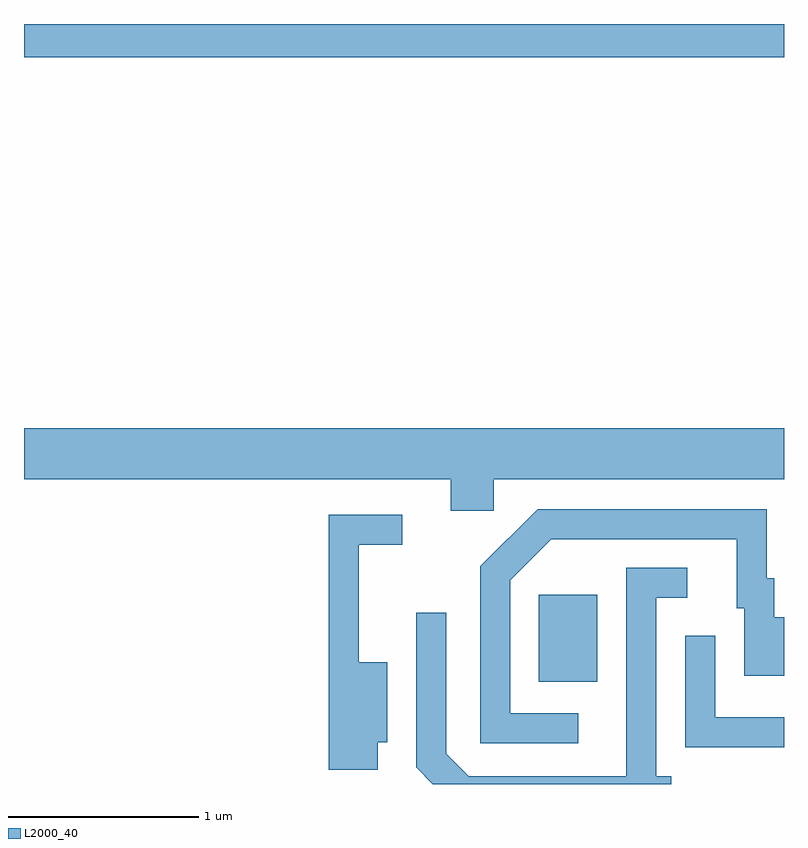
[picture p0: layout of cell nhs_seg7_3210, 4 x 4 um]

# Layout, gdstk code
import gdstk
lib = gdstk.Library(unit=1e-6, precision=1e-09)
def R(c, l, rs):  # rectangles x0, y0, x1, y1
    for r in rs: c.add(gdstk.rectangle(r[:2], r[2:], *l))
def P(c, l, *ps):  # polygons
    for p in ps: c.add(gdstk.Polygon(p, *l))
L2000_40 = (2000, 40)

nhs_seg7_3210 = lib.new_cell('nhs_seg7_3210')
R(nhs_seg7_3210, L2000_40, [(286.321,1728.791,286.629,1729.249), (283.611,1732.076,287.611,1732.252)])
P(nhs_seg7_3210, L2000_40, [(286.084,1729.856),(287.611,1729.856),(287.611,1730.124),(283.611,1730.124),(283.611,1729.856),(285.856,1729.856),(285.856,1729.691),(286.084,1729.691)],
  [(286.528,1728.624),(286.169,1728.624),(286.169,1729.324),(286.387,1729.541),(287.361,1729.541),(287.361,1729.176),(287.401,1729.176),(287.401,1728.821),(287.611,1728.821),(287.611,1729.129),(287.559,1729.129),(287.559,1729.334),(287.519,1729.334),(287.519,1729.699),(286.314,1729.699),(286.011,1729.397),(286.011,1728.466),(286.528,1728.466)],
  [(285.474,1728.471),(285.524,1728.471),(285.524,1728.894),(285.374,1728.894),(285.374,1729.511),(285.603,1729.511),(285.603,1729.669),(285.216,1729.669),(285.216,1728.326),(285.474,1728.326)],
  [(287.018,1728.294),(286.939,1728.294),(286.939,1729.231),(287.103,1729.231),(287.103,1729.389),(286.781,1729.389),(286.781,1728.294),(285.952,1728.294),(285.834,1728.412),(285.834,1729.153),(285.676,1729.153),(285.676,1728.339),(285.763,1728.252),(287.018,1728.252)],
  [(287.611,1728.604),(287.249,1728.604),(287.249,1729.033),(287.091,1729.033),(287.091,1728.446),(287.611,1728.446)])

lib.write_gds('nhs_seg7_3210.gds')
